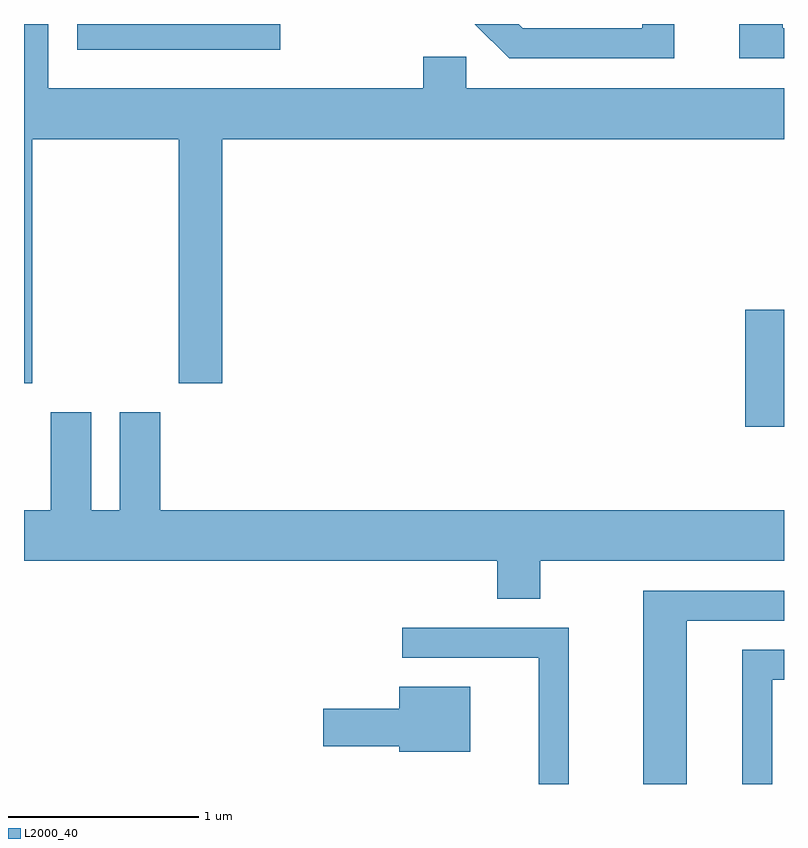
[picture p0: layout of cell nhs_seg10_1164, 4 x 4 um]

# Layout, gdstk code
import gdstk
lib = gdstk.Library(unit=1e-6, precision=1e-09)
def R(c, l, rs):  # rectangles x0, y0, x1, y1
    for r in rs: c.add(gdstk.rectangle(r[:2], r[2:], *l))
def P(c, l, *ps):  # polygons
    for p in ps: c.add(gdstk.Polygon(p, *l))
L2000_40 = (2000, 40)

nhs_seg10_1164 = lib.new_cell('nhs_seg10_1164')
R(nhs_seg10_1164, L2000_40, [(223.406,2112.401,223.611,2113.019), (219.891,2114.386,220.959,2114.522)])
P(nhs_seg10_1164, L2000_40, [(219.654,2113.916),(220.426,2113.916),(220.426,2112.631),(220.654,2112.631),(220.654,2113.916),(223.611,2113.916),(223.611,2114.184),(221.939,2114.184),(221.939,2114.349),(221.711,2114.349),(221.711,2114.184),(219.739,2114.184),(219.739,2114.522),(219.611,2114.522),(219.611,2112.631),(219.654,2112.631)],
  [(223.611,2114.499),(223.604,2114.499),(223.604,2114.522),(223.376,2114.522),(223.376,2114.341),(223.611,2114.341)],
  [(223.034,2114.522),(222.866,2114.522),(222.866,2114.499),(222.237,2114.499),(222.214,2114.522),(221.983,2114.522),(222.164,2114.341),(223.034,2114.341)],
  [(222.329,2111.696),(223.611,2111.696),(223.611,2111.964),(220.329,2111.964),(220.329,2112.479),(220.116,2112.479),(220.116,2111.964),(219.964,2111.964),(219.964,2112.479),(219.751,2112.479),(219.751,2111.964),(219.611,2111.964),(219.611,2111.696),(222.101,2111.696),(222.101,2111.496),(222.329,2111.496)],
  [(223.099,2111.381),(223.611,2111.381),(223.611,2111.539),(222.871,2111.539),(222.871,2110.522),(223.099,2110.522)],
  [(222.479,2111.344),(221.603,2111.344),(221.603,2111.186),(222.321,2111.186),(222.321,2110.522),(222.479,2110.522)],
  [(223.549,2111.071),(223.611,2111.071),(223.611,2111.229),(223.391,2111.229),(223.391,2110.522),(223.549,2110.522)],
  [(221.959,2111.034),(221.586,2111.034),(221.586,2110.919),(221.186,2110.919),(221.186,2110.721),(221.586,2110.721),(221.586,2110.691),(221.959,2110.691)])

lib.write_gds('nhs_seg10_1164.gds')
